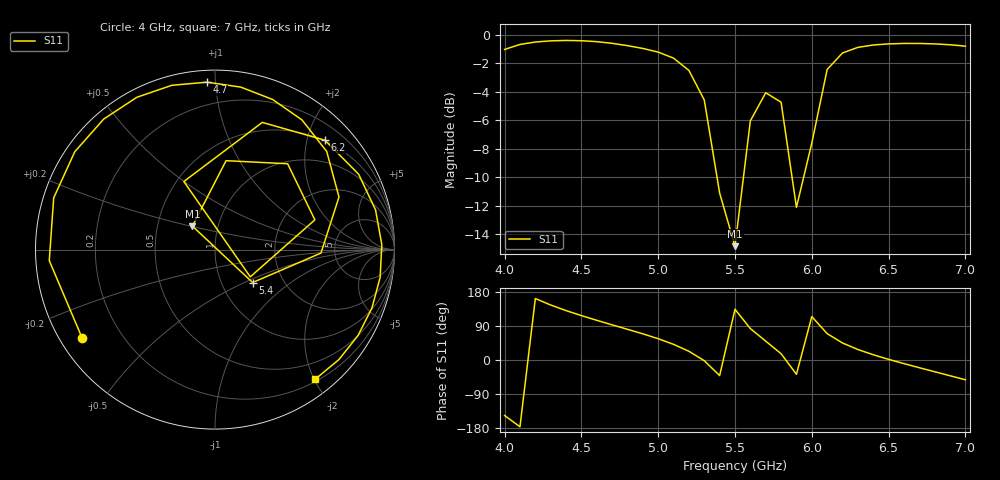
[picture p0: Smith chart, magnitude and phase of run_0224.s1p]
! Touchstone file exported from HFSS 2024.2.0
!  File:  C:/Users/wsak9/Desktop/Sim Fast/Widenad Patch/WP_AI_V1_sweep.aedt
!  Generated:  12:21:21 AM Oct 14, 2026
!  Design:  A1_model
!  Project:  WP_AI_V1_sweep
!  Setup:  Setup1
!  Solution:  Sweep
! Variables:
!  Air_gap = 3.3mm
!  Curve_Amp1 = 3.57
!  Curve_len1 = 1
!  Curve_pos = 10.865mm
!  Extra = 6.7mm
!  H_sub = 0.79mm
!  L_Patch = 17.73mm
!  L_Patch1 = 16.26mm
!  Sx = 4.27mm
!  Sy = 0.54mm
!  WS = 0.21mm
!  W_Patch = 12.94mm
!  W_Patch1 = 9.56mm
!Data is not renormalized
# GHz S MA
! Terminal data exported
! Port[1] = 1
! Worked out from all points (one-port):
!   31 points, 4 GHz to 7 GHz, reference per port
!   lowest |S11| = -14.8 dB at 5.5 GHz (marker M1), VSWR 1.44
!   |S11| at or under -10 dB: 5.383 GHz to 5.555 GHz (171.7 MHz wide, 3.14 % of centre); 5.872 GHz to 5.947 GHz (75.04 MHz wide, 1.27 % of centre)
!   S11 on the Smith chart (normalised r, x): 4 GHz: 0.06, -0.30; 4.7 GHz: 0.07, +0.95; 5.4 GHz: 1.40, -0.56; 6.2 GHz: 0.49, +2.34; 7 GHz: 0.23, -2.02
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4  0.8888 -146.5
4.1  0.9254 -176.2
4.2  0.9437 162.2
4.3  0.9527 145.1
4.4  0.9558 130.4
4.5  0.9538 117.2
4.6  0.9465 104.7
4.7  0.9339 92.8
4.8  0.9166 81.0
5  0.87 56.1
5.1  0.8285 41.3
5.2  0.7503 23.0
5.3  0.5907 -1.9
5.4  0.2787 -41.2
5.5  0.1815 133.9
5.6  0.4992 82.9
5.7  0.6265 49.8
5.8  0.5805 16.6
5.9  0.2484 -37.7
6  0.4172 114.6
6.1  0.7561 69.6
6.2  0.864 44.8
6.3  0.9038 27.7
6.4  0.9214 13.9
6.5  0.9297 1.7
6.7  0.9329 -20.4
6.8  0.9297 -31.0
7  0.9128 -52.2
